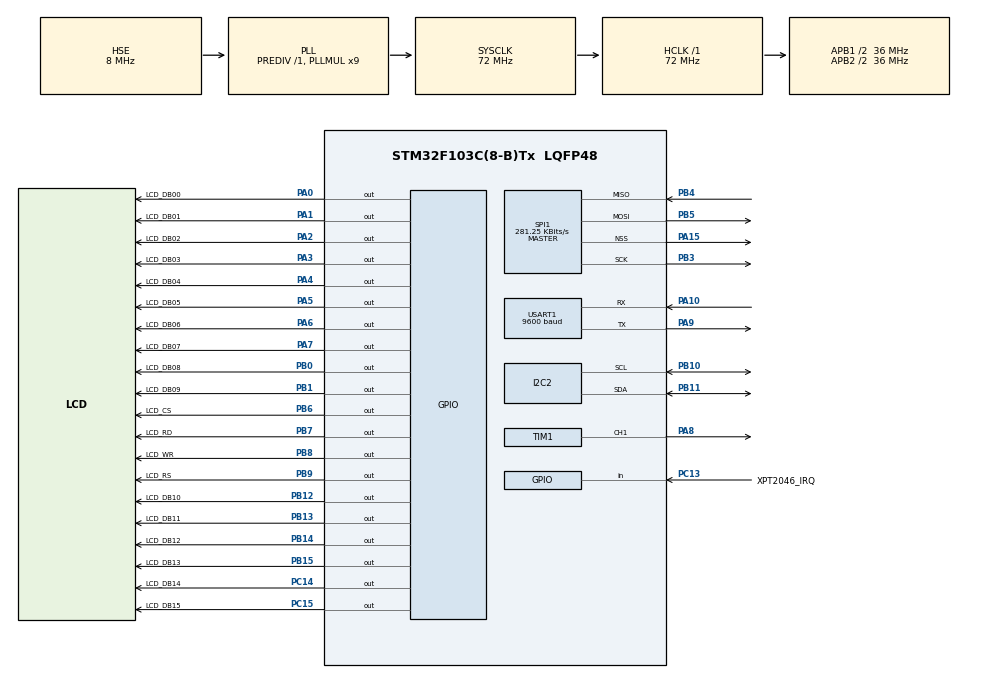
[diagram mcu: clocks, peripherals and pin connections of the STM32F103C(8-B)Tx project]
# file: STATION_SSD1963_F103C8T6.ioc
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Dma.Request0=USART1_TX
Dma.Request1=USART1_RX
Dma.USART1_RX.1.Direction=DMA_PERIPH_TO_MEMORY
Dma.USART1_RX.1.Instance=DMA1_Channel5
Dma.USART1_RX.1.MemDataAlignment=DMA_MDATAALIGN_BYTE
Dma.USART1_RX.1.MemInc=DMA_MINC_ENABLE
Dma.USART1_RX.1.Mode=DMA_NORMAL
Dma.USART1_RX.1.PeriphDataAlignment=DMA_PDATAALIGN_BYTE
Dma.USART1_RX.1.PeriphInc=DMA_PINC_DISABLE
Dma.USART1_RX.1.Priority=DMA_PRIORITY_LOW
Dma.USART1_TX.0.Direction=DMA_MEMORY_TO_PERIPH
Dma.USART1_TX.0.Instance=DMA1_Channel4
Dma.USART1_TX.0.MemDataAlignment=DMA_MDATAALIGN_BYTE
Dma.USART1_TX.0.MemInc=DMA_MINC_ENABLE
Dma.USART1_TX.0.Mode=DMA_NORMAL
Dma.USART1_TX.0.PeriphDataAlignment=DMA_PDATAALIGN_BYTE
Dma.USART1_TX.0.PeriphInc=DMA_PINC_DISABLE
Dma.USART1_TX.0.Priority=DMA_PRIORITY_LOW
Mcu.Family=STM32F1
Mcu.Name=STM32F103C(8-B)Tx
Mcu.Package=LQFP48
NVIC.DMA1_Channel4_IRQn=true\:0\:0\:false\:false\:true\:false\:true
NVIC.DMA1_Channel5_IRQn=true\:0\:0\:false\:false\:true\:false\:true
NVIC.PriorityGroup=NVIC_PRIORITYGROUP_4
NVIC.USART1_IRQn=true\:0\:0\:false\:false\:true\:true\:true
PA0-WKUP.GPIO_Label=LCD_DB00
PA0-WKUP.Signal=GPIO_Output
PA1.GPIO_Label=LCD_DB01
PA1.Signal=GPIO_Output
PA10.Mode=Asynchronous
PA10.Signal=USART1_RX
PA13.Mode=Serial_Wire
PA13.Signal=SYS_JTMS-SWDIO
PA14.Mode=Serial_Wire
PA14.Signal=SYS_JTCK-SWCLK
PA15.Mode=NSS_Signal_Hard_Output
PA15.Signal=SPI1_NSS
PA2.GPIO_Label=LCD_DB02
PA2.Signal=GPIO_Output
PA3.GPIO_Label=LCD_DB03
PA3.Signal=GPIO_Output
PA4.GPIO_Label=LCD_DB04
PA4.Signal=GPIO_Output
PA5.GPIO_Label=LCD_DB05
PA5.Signal=GPIO_Output
PA6.GPIO_Label=LCD_DB06
PA6.Signal=GPIO_Output
PA7.GPIO_Label=LCD_DB07
PA7.Signal=GPIO_Output
PA8.GPIO_Speed=GPIO_SPEED_FREQ_LOW
PA8.Signal=S_TIM1_CH1
PA9.Mode=Asynchronous
PA9.Signal=USART1_TX
PB0.GPIO_Label=LCD_DB08
PB0.Signal=GPIO_Output
PB1.GPIO_Label=LCD_DB09
PB1.Signal=GPIO_Output
PB10.GPIO_Pu=GPIO_PULLUP
PB10.GPIO_Speed=GPIO_SPEED_FREQ_HIGH
PB10.Mode=I2C
PB10.Signal=I2C2_SCL
PB11.GPIO_Pu=GPIO_PULLUP
PB11.GPIO_Speed=GPIO_SPEED_FREQ_HIGH
PB11.Mode=I2C
PB11.Signal=I2C2_SDA
PB12.GPIO_Label=LCD_DB10
PB12.Signal=GPIO_Output
PB13.GPIO_Label=LCD_DB11
PB13.Signal=GPIO_Output
PB14.GPIO_Label=LCD_DB12
PB14.Signal=GPIO_Output
PB15.GPIO_Label=LCD_DB13
PB15.Signal=GPIO_Output
PB3.Mode=Full_Duplex_Master
PB3.Signal=SPI1_SCK
PB4.Mode=Full_Duplex_Master
PB4.Signal=SPI1_MISO
PB5.Mode=Full_Duplex_Master
PB5.Signal=SPI1_MOSI
PB6.GPIO_Label=LCD_CS
PB6.Signal=GPIO_Output
PB7.GPIO_Label=LCD_RD
PB7.Signal=GPIO_Output
PB8.GPIO_Label=LCD_WR
PB8.Signal=GPIO_Output
PB9.GPIO_Label=LCD_RS
PB9.Signal=GPIO_Output
PC13-TAMPER-RTC.GPIO_Label=XPT2046_IRQ
PC13-TAMPER-RTC.GPIO_PuPd=GPIO_PULLUP
PC13-TAMPER-RTC.Signal=GPIO_Input
PC14-OSC32_IN.GPIO_Label=LCD_DB14
PC14-OSC32_IN.Signal=GPIO_Output
PC15-OSC32_OUT.GPIO_Label=LCD_DB15
PC15-OSC32_OUT.Signal=GPIO_Output
PD0-OSC_IN.Mode=HSE-External-Oscillator
PD0-OSC_IN.Signal=RCC_OSC_IN
PD1-OSC_OUT.Mode=HSE-External-Oscillator
PD1-OSC_OUT.Signal=RCC_OSC_OUT
ProjectManager.HeapSize=0x200
ProjectManager.StackSize=0x400
ProjectManager.TargetToolchain=MDK-ARM V5
RCC.AHBFreq_Value=72000000
RCC.APB1CLKDivider=RCC_HCLK_DIV2
RCC.APB1Freq_Value=36000000
RCC.APB1TimFreq_Value=72000000
RCC.APB2CLKDivider=RCC_HCLK_DIV2
RCC.APB2Freq_Value=36000000
RCC.APB2TimFreq_Value=72000000
RCC.HCLKFreq_Value=72000000
RCC.PLLMUL=RCC_PLL_MUL9
RCC.PLLSourceVirtual=RCC_PLLSOURCE_HSE
RCC.SYSCLKFreq_VALUE=72000000
RCC.SYSCLKSource=RCC_SYSCLKSOURCE_PLLCLK
RCC.USBFreq_Value=48000000
RCC.USBPrescaler=RCC_USBCLKSOURCE_PLL_DIV1_5
SH.S_TIM1_CH1.0=TIM1_CH1,PWM Generation1 CH1
SPI1.BaudRatePrescaler=SPI_BAUDRATEPRESCALER_128
SPI1.CalculateBaudRate=281.25 KBits/s
SPI1.Direction=SPI_DIRECTION_2LINES
SPI1.Mode=SPI_MODE_MASTER
SPI1.VirtualNSS=VM_NSSHARD
SPI1.VirtualType=VM_MASTER
TIM1.Channel-PWM\ Generation1\ CH1=TIM_CHANNEL_1
TIM1.Period=65535
TIM1.Prescaler=0
TIM1.Pulse-PWM\ Generation1\ CH1=0
USART1.BaudRate=9600
USART1.VirtualMode=VM_ASYNC
VP_TIM1_VS_ClockSourceINT.Mode=Internal
board=custom

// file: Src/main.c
/* USER CODE BEGIN Header */
/**
  ******************************************************************************
  * @file           : main.c
  * @brief          : Main program body
  ******************************************************************************
  ** This notice applies to any and all portions of this file
  * that are not between comment pairs USER CODE BEGIN and
  * USER CODE END. Other portions of this file, whether
  * inserted by the user or by software development tools
  * are owned by their respective copyright owners.
  *
  * COPYRIGHT(c) 2019 STMicroelectronics
  *
  * Redistribution and use in source and binary forms, with or without modification,
  * are permitted provided that the following conditions are met:
  *   1. Redistributions of source code must retain the above copyright notice,
  *      this list of conditions and the following disclaimer.
  *   2. Redistributions in binary form must reproduce the above copyright notice,
  *      this list of conditions and the following disclaimer in the documentation
  *      and/or other materials provided with the distribution.
  *   3. Neither the name of STMicroelectronics nor the names of its contributors
  *      may be used to endorse or promote products derived from this software
  *      without specific prior written permission.
  *
  * THIS SOFTWARE IS PROVIDED BY THE COPYRIGHT HOLDERS AND CONTRIBUTORS "AS IS"
  * AND ANY EXPRESS OR IMPLIED WARRANTIES, INCLUDING, BUT NOT LIMITED TO, THE
  * IMPLIED WARRANTIES OF MERCHANTABILITY AND FITNESS FOR A PARTICULAR PURPOSE ARE
  * DISCLAIMED. IN NO EVENT SHALL THE COPYRIGHT HOLDER OR CONTRIBUTORS BE LIABLE
  * FOR ANY DIRECT, INDIRECT, INCIDENTAL, SPECIAL, EXEMPLARY, OR CONSEQUENTIAL
  * DAMAGES (INCLUDING, BUT NOT LIMITED TO, PROCUREMENT OF SUBSTITUTE GOODS OR
  * SERVICES; LOSS OF USE, DATA, OR PROFITS; OR BUSINESS INTERRUPTION) HOWEVER
  * CAUSED AND ON ANY THEORY OF LIABILITY, WHETHER IN CONTRACT, STRICT LIABILITY,
  * OR TORT (INCLUDING NEGLIGENCE OR OTHERWISE) ARISING IN ANY WAY OUT OF THE USE
  * OF THIS SOFTWARE, EVEN IF ADVISED OF THE POSSIBILITY OF SUCH DAMAGE.
  *
  ******************************************************************************
  */
/* USER CODE END Header */
#include "main.h"

/* USER CODE BEGIN Includes */
#include <stdio.h>
#include <math.h>
#include "ssd1963_hal.h"
#include "xpt2046.h"
#include "uart.h"

#include "string.h"
#include "bme280.h"
#include "ds3231.h"
#include "at24xx.h"

#include "fonts/DejaVuSans/018_DejaVuSans.h"
#include "fonts/DejaVuSans/036_DejaVuSans.h"
#include "fonts/DejaVuSans/072_DejaVuSans.h"

/* USER CODE END Includes */

/* USER CODE BEGIN PD */
//#define MAX_PRESSURE 1064
/* USER CODE END PD */

I2C_HandleTypeDef hi2c2;

SPI_HandleTypeDef hspi1;

TIM_HandleTypeDef htim1;

UART_HandleTypeDef huart1;
DMA_HandleTypeDef hdma_usart1_tx;
DMA_HandleTypeDef hdma_usart1_rx;

/* USER CODE BEGIN PV */
uint8_t  rtcSet = 1, clearEEPROM = 0, barographViewed = 0, sound = 1, printAlarm = 0, alarm1 = 0;
uint8_t rtcSec, rtcMin, rtcHrs, rtcDay, rtcDate, rtcMonth, rtcYear,
rtcSecA1, rtcMinA1, rtcHrsA1, rtcDayA1, rtcDateA1, rtcMinA2, rtcHrsA2, rtcDayA2, rtcDateA2;
uint16_t touchX, touchY;
uint8_t rtcSecLast = 61, rtcMinLast = 61, rtcHrsLast = 25, rtcDayLast, rtcDateLast, rtcMonthLast, rtcYearLast;
uint16_t pressure, pressureLast;
double temperatureLast, humidityLast, temperature, humidity,
temperatureRemote, temperatureRemoteLast, humidityRemote, humidityRemoteLast, rtcMoon, rtcMoonLast;
uint64_t startHistory;

uint16_t barographHourly[367] = { 25 };
uint16_t barographDaily[367];
uint16_t barographMinimum = 0, barographMaximum = 0, barographAverage = 0;
/* USER CODE END PV */

void SystemClock_Config(void);
static void MX_GPIO_Init(void);
static void MX_DMA_Init(void);
static void MX_USART1_UART_Init(void);
static void MX_SPI1_Init(void);
static void MX_I2C2_Init(void);
static void MX_TIM1_Init(void);

/* USER CODE BEGIN 0 */
double map(double x, double in_min, double in_max, double out_min, double out_max) {
	return (x - in_min) * (out_max - out_min) / (in_max - in_min) + out_min;
}

uint8_t rx_buffer[256];
uint8_t rx_index = 0;
uint8_t rx_data;

void HAL_UART_RxCpltCallback(UART_HandleTypeDef* huart) {
	uint8_t i;
	if (huart->Instance == USART1) {
		if (rx_index == 0) {
			for (i = 0; i < 255; i++) {
				rx_buffer[i] = 0;
			}
		}
		rx_buffer[rx_index++] = rx_data;
		HAL_UART_Receive_IT(&huart1, &rx_data, 1);
	}
}

void sensorRemote() {

	if (temperatureRemote != temperatureRemoteLast && temperatureRemote >= -40 && temperatureRemote <= 40) {

		char weatherPrintRemoteT[4];

		if (temperatureRemoteLast >= 10 || (temperatureRemoteLast < 0 && temperatureRemoteLast > -100)) {
			sprintf(weatherPrintRemoteT, "%.1f", temperatureRemoteLast);
			LCD_Font(505, 40, weatherPrintRemoteT, &DejaVu_Sans_36, 1, BLACK);
		}
		else if (temperatureRemoteLast < 10 && temperatureRemoteLast > 0) {
			sprintf(weatherPrintRemoteT, "%.1f", temperatureRemoteLast);
			LCD_Font(531, 40, weatherPrintRemoteT, &DejaVu_Sans_36, 1, BLACK);
		}
		else if (temperatureRemoteLast <= -100) {
			sprintf(weatherPrintRemoteT, "%2d", (int8_t)temperatureRemoteLast);
			LCD_Font(505, 40, weatherPrintRemoteT, &DejaVu_Sans_36, 1, BLACK);
		}

		temperatureRemoteLast = temperatureRemote;

		if (temperatureRemoteLast >= 10 || (temperatureRemoteLast < 0 && temperatureRemoteLast > -100)) {
			sprintf(weatherPrintRemoteT, "%.1f", temperatureRemoteLast);
			LCD_Font(505, 40, weatherPrintRemoteT, &DejaVu_Sans_36, 1, ORANGE);
		}
		else if (temperatureRemoteLast < 10 && temperatureRemoteLast > 0) {
			sprintf(weatherPrintRemoteT, "%.1f", temperatureRemoteLast);
			LCD_Font(531, 40, weatherPrintRemoteT, &DejaVu_Sans_36, 1, ORANGE);
		}

		for (double i = 0.0; i < 400; i++) {
			if (temperatureRemoteLast + 40 > i / 5) LCD_Line(547, 470 - i, 563, 470 - i, 1, GRAY);
			else LCD_Line(547, 470 - i, 563, 470 - i, 1, 0x101010);
		}
	}

	if (humidityRemote != humidityRemoteLast && humidityRemote > 0) {

		char weatherPrintRemoteH[4];

		if (humidityRemoteLast >= 10) {
			sprintf(weatherPrintRemoteH, "%.1f", humidityRemoteLast);
			LCD_Font(405, 40, weatherPrintRemoteH, &DejaVu_Sans_36, 1, BLACK);
		}
		else if (humidityRemoteLast < 10) {
			sprintf(weatherPrintRemoteH, "%.1f", humidityRemoteLast);
			LCD_Font(431, 40, weatherPrintRemoteH, &DejaVu_Sans_36, 1, BLACK);
		}

		humidityRemoteLast = humidityRemote;

		if (humidityRemoteLast >= 10) {
			sprintf(weatherPrintRemoteH, "%.1f", humidityRemoteLast);
			LCD_Font(405, 40, weatherPrintRemoteH, &DejaVu_Sans_36, 1, CYAN);
		}
		else if (humidityRemoteLast < 10) {
			sprintf(weatherPrintRemoteH, "%.1f", humidityRemoteLast);
			LCD_Font(431, 40, weatherPrintRemoteH, &DejaVu_Sans_36, 1, CYAN);
		}

		for (double i = 0.0; i < 400; i++) {
			if (humidityRemote > i / 4) LCD_Line(447, 470 - i, 463, 470 - i, 1, GRAY);
			else LCD_Line(447, 470 - i, 463, 470 - i, 1, 0x101010);
		}
	}
}

uint8_t byteL(uint16_t val) {
	return (val & 0xFF);
}

uint8_t byteH(uint16_t val) {
	return ((val >> 8) & 0xFF);
}

uint16_t byteS(uint8_t byteL, uint8_t byteH) {
	return (byteH << 8) | byteL;
}

void barograph(void) {

	pressure = (uint16_t)BME280_getPressure();
	if (pressure > 300 && pressure < 1100) {

		for (uint16_t i = 0; i < 367; i++) {
			barographHourly[i] = byteS(AT24XX_Read(i * 2 + 1000), AT24XX_Read(i * 2 + 1 + 1000));
			barographDaily[i] = byteS(AT24XX_Read(i * 2 + 2000), AT24XX_Read(i * 2 + 1 + 2000));
		}

		if (barographHourly[0] != rtcHrs && pressure > 300 && pressure < 1100) {

			barographHourly[0] = rtcHrs;

			for (uint16_t i = 1; i < 366; i++) barographHourly[i] = barographHourly[i + 1];
			barographHourly[366] = (uint16_t)pressure;

			for (uint16_t i = 0; i < 367; i++) {
				AT24XX_Update(i * 2 + 1000, byteL(barographHourly[i]));
				AT24XX_Update(i * 2 + 1 + 1000, byteH(barographHourly[i]));
			}

			if (barographDaily[0] != rtcDate) {
				barographDaily[0] = rtcDate;

				uint32_t barographAverageLast24Hours = 0;
				uint16_t historyHours = 0;
				for (uint8_t i = 0; i < 24; i++) {
					if (barographHourly[366 - i] != 0) {
						barographAverageLast24Hours = barographAverageLast24Hours + barographHourly[366 - i];
						historyHours++;
					}
				}
				if (historyHours != 0) barographAverageLast24Hours = barographAverageLast24Hours / historyHours;

				for (uint16_t i = 1; i < 366; i++) {
					barographDaily[i] = barographDaily[i + 1];
				}
				barographDaily[366] = barographAverageLast24Hours;

				for (uint16_t i = 0; i < 367; i++) {
					AT24XX_Update(i * 2 + 2000, byteL(barographDaily[i]));
					AT24XX_Update(i * 2 + 1 + 2000, byteH(barographDaily[i]));
				}
			}
			barographViewed = 0;
		}

		if (!barographViewed) {

			uint32_t barographAverageLast366Days = 0;
			uint16_t historyDays = 0;
			for (uint16_t i = 0; i < 365; i++) {
				if (barographDaily[366 - i] != 0) {
					barographAverageLast366Days = barographAverageLast366Days + barographDaily[366 - i];
					historyDays++;
				}
			}
			if (historyDays != 0) barographAverage = barographAverageLast366Days / historyDays;

			barographMinimum = barographDaily[366];
			barographMaximum = barographDaily[366];

			for (uint16_t i = 1; i < 366; i++) {
				if (barographDaily[366 - i] != 0) {
					if (barographDaily[366 - i] < barographMinimum) barographMinimum = barographDaily[366 - i];
					if (barographDaily[366 - i] > barographMaximum) barographMaximum = barographDaily[366 - i];
				}
			}

			for (uint16_t i = 1; i < 366; i++) {
				if (barographHourly[366 - i] != 0) {
					if (barographHourly[366 - i] < barographMinimum) barographMinimum = barographHourly[366 - i];
					if (barographHourly[366 - i] > barographMaximum) barographMaximum = barographHourly[366 - i];
				}
			}

			barographDaily[0] = rtcDate;

			LCD_Rect(1, 201, 368, 128, 1, BLUE);

			for (uint16_t i = 0; i < 366; i++) {
				int16_t val = 0;
				val = barographHourly[i + 1];
				if (val < barographMaximum - 127) val = barographMaximum - 127;
				LCD_Line(2 + i, 328, 2 + i, 202, 1, BLACK);
				LCD_Line(2 + i, 328, 2 + i, 202 + (barographMaximum - val), 1, RGB(255 - ((barographMaximum - val) * 2), 0, 255 - (255 - ((barographMaximum - val) * 2))));
			}

			LCD_Rect(1, 329, 368, 128, 1, BLUE);

			for (uint16_t i = 0; i < 366; i++) {
				int16_t val = 0;
				val = barographDaily[i + 1];
				if (val < barographMaximum - 127) val = barographMaximum - 127;

				LCD_Line(2 + i, 456, 2 + i, 330, 1, BLACK);
				LCD_Line(2 + i, 456, 2 + i, 330 + (barographMaximum - val), 1, RGB(255 - ((barographMaximum - val) * 2), 0, 255 - (255 - ((barographMaximum - val) * 2))));
			}

			LCD_Rect_Fill(1, 460, 397, 18, BLACK);

			char s[10];

			if (barographAverage >= 1000) sprintf(s, "Mid:%02d|", barographAverage);
			else sprintf(s, "Mid:0%02d|", barographAverage);
			LCD_Font(1, 474, s, &DejaVu_Sans_18, 1, GRAY);

			if (barographMinimum >= 1000) sprintf(s, "|Min:%02d|", barographMinimum);
			else sprintf(s, "|Min:0%02d|", barographMinimum);
			LCD_Font(91, 474, s, &DejaVu_Sans_18, 1, GRAY);

			if (barographMaximum >= 1000) sprintf(s, "|Max:%02d|", barographMaximum);
			else sprintf(s, "|Max:0%02d|", barographMaximum);
			LCD_Font(188, 474, s, &DejaVu_Sans_18, 1, GRAY);

			if (pressure >= 1000) sprintf(s, "|Now:%02d", pressure);
			else sprintf(s, "|Now:0%02d", pressure);
			LCD_Font(290, 474, s, &DejaVu_Sans_18, 1, GRAY);

			if (barographHourly[365] != barographHourly[366])
			{
				LCD_Triangle_Fill(370, 302, 398, 302, 384, 316, BLACK);
				LCD_Triangle_Fill(370, 262, 398, 262, 384, 272, BLACK);
				LCD_Triangle_Fill(370, 222, 398, 222, 384, 236, BLACK);
				LCD_Triangle_Fill(370, 316, 398, 316, 384, 302, BLACK);
				LCD_Triangle_Fill(370, 276, 398, 276, 384, 262, BLACK);
				LCD_Triangle_Fill(370, 236, 398, 236, 384, 222, BLACK);
				if (barographHourly[365] > barographHourly[366])     LCD_Triangle_Fill(370, 302, 398, 302, 384, 316, BLUE);
				if (barographHourly[365] > barographHourly[366] + 1) LCD_Triangle_Fill(370, 262, 398, 262, 384, 272, BLUE);
				if (barographHourly[365] > barographHourly[366] + 2) LCD_Triangle_Fill(370, 222, 398, 222, 384, 236, BLUE);
				if (barographHourly[365] < barographHourly[366])     LCD_Triangle_Fill(370, 316, 398, 316, 384, 302, RED);
				if (barographHourly[365] < barographHourly[366] - 1) LCD_Triangle_Fill(370, 276, 398, 276, 384, 262, RED);
				if (barographHourly[365] < barographHourly[366] - 2) LCD_Triangle_Fill(370, 236, 398, 236, 384, 222, RED);
			}

			if (barographDaily[365] != barographDaily[366])
			{
				LCD_Triangle_Fill(370, 430, 398, 430, 384, 444, BLACK);
				LCD_Triangle_Fill(370, 390, 398, 390, 384, 404, BLACK);
				LCD_Triangle_Fill(370, 350, 398, 350, 384, 364, BLACK);
				LCD_Triangle_Fill(370, 444, 398, 444, 384, 430, BLACK);
				LCD_Triangle_Fill(370, 404, 398, 404, 384, 390, BLACK);
				LCD_Triangle_Fill(370, 364, 398, 364, 384, 350, BLACK);
				if (barographDaily[365] > barographDaily[366] + 5)      LCD_Triangle_Fill(370, 430, 398, 430, 384, 444, BLUE);
				if (barographDaily[365] > barographDaily[366] + 10) 	LCD_Triangle_Fill(370, 390, 398, 390, 384, 404, BLUE);
				if (barographDaily[365] > barographDaily[366] + 15) 	LCD_Triangle_Fill(370, 350, 398, 350, 384, 364, BLUE);
				if (barographDaily[365] < barographDaily[366] - 5)     	LCD_Triangle_Fill(370, 444, 398, 444, 384, 430, RED);
				if (barographDaily[365] < barographDaily[366] - 10) 	LCD_Triangle_Fill(370, 404, 398, 404, 384, 390, RED);
				if (barographDaily[365] < barographDaily[366] - 15) 	LCD_Triangle_Fill(370, 364, 398, 364, 384, 350, RED);
			}
			barographViewed = 1;
		}
	}
}

void uartDecode() {

	if (memcmp(rx_buffer, "CE", 2) == 0) {
		for (uint16_t i = 0; i < 4096; i++) AT24XX_Update(i, 0);

		uint8_t uartTransmit[] = "EEPROM IS CLEANED\r\n";
		HAL_UART_Transmit(&huart1, uartTransmit, sizeof(uartTransmit), 100);

		barograph();
	}

	if (memcmp(rx_buffer, "RS", 2) == 0) {

		char valT[4] = { 0 };

		for (uint8_t i = 0; i < 4; i++) valT[i] = rx_buffer[2 + i];

		temperatureRemote = atoi(valT);
		temperatureRemote = temperatureRemote / 10;

		char valH[3] = { 0 };

		for (uint8_t i = 0; i < 3; i++) valH[i] = rx_buffer[6 + i];

		humidityRemote = atoi(valH);
		humidityRemote = humidityRemote / 10;

		sensorRemote();
	}

	if (memcmp(rx_buffer, "RT", 2) == 0) {

		char val[2];

		val[0] = rx_buffer[2];
		val[1] = rx_buffer[3];
		DS3231_setHrs(atoi(val));

		val[0] = rx_buffer[4];
		val[1] = rx_buffer[5];
		DS3231_setMin(atoi(val));

		val[0] = rx_buffer[6];
		val[1] = rx_buffer[7];
		DS3231_setSec(atoi(val));

		val[0] = rx_buffer[8];
		val[1] = rx_buffer[9];
		DS3231_setDate(atoi(val));

		val[0] = rx_buffer[10];
		val[1] = rx_buffer[11];
		DS3231_setMonth(atoi(val));

		val[0] = rx_buffer[12];
		val[1] = rx_buffer[13];
		DS3231_setYear(atoi(val));

		val[1] = rx_buffer[14];
		DS3231_setDay(atoi(val));
	}

	for (uint8_t i = 0; i < 255; i++) rx_buffer[i] = 0;
}

void signal(void)
{
	for (uint32_t i = 0; i <= 65536; i++)
	{
		TIM1->CCR1 = i;
	}
}

void alarm(void)
{
	alarm1 = AT24XX_Read(4000);
	if (rtcHrsA1 < 24 && rtcMinA1 < 60)
	{
		if (!printAlarm)
		{
			LCD_Rect_Fill(71, 170, 105, 28, BLACK);
			char alarm1Time[8];
			sprintf(alarm1Time, "%02d:%02d", rtcHrsA1, rtcMinA1);
			if (alarm1) LCD_Font(70, 197, alarm1Time, &DejaVu_Sans_36, 1, RED);
			else LCD_Font(70, 197, alarm1Time, &DejaVu_Sans_36, 1, GRAY);

			LCD_Rect_Round(2, 170, 30, 30, 2, 1, GRAY);
			LCD_Font(8, 179, "_", &DejaVu_Sans_36, 1, GRAY);
			LCD_Rect_Round(34, 170, 30, 30, 2, 1, GRAY);
			LCD_Font(34, 197, "+", &DejaVu_Sans_36, 1, GRAY);

			LCD_Rect_Round(182, 170, 30, 30, 2, 1, GRAY);
			LCD_Font(188, 179, "_", &DejaVu_Sans_36, 1, GRAY);
			LCD_Rect_Round(214, 170, 30, 30, 2, 1, GRAY);
			LCD_Font(214, 197, "+", &DejaVu_Sans_36, 1, GRAY);

			LCD_Rect_Round(260, 170, 130, 30, 2, 1, GRAY);
			LCD_Rect_Round(300, 175, 50, 20, 2, 1, GRAY);
			LCD_Font(262, 192, "OFF", &DejaVu_Sans_18, 1, GRAY);
			LCD_Font(356, 192, "ON", &DejaVu_Sans_18, 1, GRAY);

			if (alarm1)
			{
				LCD_Rect_Round_Fill(329, 176, 20, 18, 1, RED);
				LCD_Rect_Round_Fill(301, 176, 20, 18, 1, BLACK);
			}
			else
			{
				LCD_Rect_Round_Fill(301, 176, 20, 18, 1, GRAY);
				LCD_Rect_Round_Fill(329, 176, 20, 18, 1, BLACK);
			}

			printAlarm = 1;
		}
		if (alarm1 && rtcHrsA1 == rtcHrs && rtcMinA1 == rtcMin) signal();
	}
}

/* USER CODE END 0 */

int main(void)
{

  /* MCU Configuration--------------------------------------------------------*/

  /* Reset of all peripherals, Initializes the Flash interface and the Systick. */
  HAL_Init();

  /* Configure the system clock */
  SystemClock_Config();

  /* Initialize all configured peripherals */
  MX_GPIO_Init();
  MX_DMA_Init();
  MX_USART1_UART_Init();
  MX_SPI1_Init();
  MX_I2C2_Init();
  MX_TIM1_Init();
  /* USER CODE BEGIN 2 */

	LCD_Init();
	XPT2046_Init();
	BME280_Init();

	HAL_TIM_PWM_Start(&htim1, TIM_CHANNEL_1);

	temperature = BME280_getTemperature(-1);
	humidity = BME280_getHumidity(-1);
	pressure = (uint16_t)BME280_getPressure();

	if (!rtcSet) {
		DS3231_setSec(0);
		DS3231_setMin(0);
		DS3231_setHrs(20);
		DS3231_setDay(7);
		DS3231_setDate(25);
		DS3231_setMonth(4);
		DS3231_setYear(21);
		rtcSet = 1;
	}

	if (clearEEPROM) {
		for (uint16_t i = 0; i < 4096; i++) {
			AT24XX_Update(i, 0);
		}
	}

	LCD_Rect_Fill(0, 0, 800, 480, BLACK);
	LCD_Rect(0, 0, 798, 479, 1, BLUE);

	HAL_UART_Receive_IT(&huart1, &rx_data, 1);

	uint8_t uartTransmit[] = "UART OK\r\n";
	HAL_UART_Transmit(&huart1, uartTransmit, sizeof(uartTransmit), 100);

	uint8_t uartTransmitDMA[] = "UART DMA OK\r\n";
	HAL_UART_Transmit_DMA(&huart1, uartTransmitDMA, sizeof(uartTransmitDMA));

	LCD_Line(400, 2, 400, 478, 1, BLUE);
	LCD_Rect(445, 70, 20, 402, 1, CYAN);
	LCD_Rect(745, 70, 20, 402, 1, CYAN);

	for (uint32_t i = 0; i < 41; i++) {
		char numbers[3];
		sprintf(numbers, "%02d", 40 - i);
		if (i % 5 == 0) LCD_Font(710, 77 + i * 10, numbers, &DejaVu_Sans_18, 1, GREEN);
		if (i % 5 == 0 && i > 30) LCD_Font(710, 77 + i * 10, "0", &DejaVu_Sans_18, 1, BLACK);

		if (i % 5 == 0) LCD_Line(735, 71 + i * 10, 745, 71 + i * 10, 1, CYAN);
		else LCD_Line(740, 71 + i * 10, 745, 71 + i * 10, 1, CYAN);
	}

	LCD_Rect(645, 70, 20, 402, 1, CYAN);

		for (uint8_t i = 0; i < 41; i++) {
		uint16_t n = (200 - i * 5) >> 1;
		if ((uint8_t)n % 10 == 0) {
			char numbers[3];
			sprintf(numbers, "%02d", (uint8_t)n);
			if (n < 100) LCD_Font(610, 77 + i * 10, numbers, &DejaVu_Sans_18, 1, GREEN);
			else LCD_Font(601, 77 + i * 10, numbers, &DejaVu_Sans_18, 1, GREEN);

			LCD_Line(635, 71 + i * 10, 645, 71 + i * 10, 1, CYAN);

		}
		else if ((uint8_t)n % 5 == 0 && i < 40)
			LCD_Line(640, 71 + i * 10, 645, 71 + i * 10, 1, CYAN);
	}

	LCD_Font(610, 477, "0", &DejaVu_Sans_18, 1, BLACK);

	for (uint8_t i = 0; i < 41; i++) {
		uint16_t n = (200 - i * 5) >> 1;
		if ((uint8_t)n % 10 == 0) {
			char numbers[3];
			sprintf(numbers, "%02d", (uint8_t)n);
			if (n < 100) LCD_Font(410, 77 + i * 10, numbers, &DejaVu_Sans_18, 1, GREEN);
			else LCD_Font(401, 77 + i * 10, numbers, &DejaVu_Sans_18, 1, GREEN);
			LCD_Line(435, 71 + i * 10, 445, 71 + i * 10, 1, CYAN);
		}
		else if ((uint8_t)n % 5 == 0 && i < 40)
			LCD_Line(440, 71 + i * 10, 445, 71 + i * 10, 1, CYAN);
	}

	LCD_Font(410, 477, "0", &DejaVu_Sans_18, 1, BLACK);

	LCD_Rect(545, 70, 20, 402, 1, CYAN);

	for (int32_t i = 0; i < 81; i++) {
		char numbers[3];
		sprintf(numbers, "%02d", 40 - i);
		if (i % 10 == 0) {
			if (40 - i >= 0) LCD_Font(510, 77 + i * 5, numbers, &DejaVu_Sans_18, 1, GREEN);
			else if (40 - i < 0) LCD_Font(501, 77 + i * 5, numbers, &DejaVu_Sans_18, 1, GREEN);
			LCD_Line(535, 71 + i * 5, 545, 71 + i * 5, 1, CYAN);
		}
		else if (i % 5 == 0) LCD_Line(540, 71 + i * 5, 545, 71 + i * 5, 1, CYAN);
		LCD_Font(510, 277, "0", &DejaVu_Sans_18, 1, BLACK);
	}

	LCD_Line(500, 2, 500, 478, 1, BLUE);
	LCD_Line(600, 2, 600, 478, 1, BLUE);
	LCD_Line(700, 2, 700, 478, 1, BLUE);

  /* USER CODE END 2 */

  /* Infinite loop */
  /* USER CODE BEGIN WHILE */
	while (1) {

		if (sound)
		{
			signal();
			sound = 0;
		}

		if (rx_index != 0) {
			HAL_Delay(200);
			rx_index = 0;
			uartDecode();
		}

		if ((HAL_GPIO_ReadPin(GPIOC, GPIO_PIN_13) == GPIO_PIN_SET)) {
			uint16_t touchXr = getX();
			uint16_t touchYr = getY();

			if (touchXr && touchYr && touchXr != 0x2F5 && touchYr != 0x0DB) {
				touchX = touchXr;
				touchY = touchYr;

				LCD_Rect_Fill(touchX, touchY, 2, 2, WHITE);

				if (touchX > 0 && touchX < 32 && touchY > 170 && touchY < 200)
				{
					LCD_Rect_Round(2, 170, 30, 30, 2, 1, RED);
					LCD_Font(8, 179, "_", &DejaVu_Sans_36, 1, RED);
					if (rtcHrsA1 > 0) rtcHrsA1 = rtcHrsA1 - 1; else rtcHrsA1 = 23;
					DS3231_setAlarm1Hour(rtcHrsA1);
					printAlarm = 0;
					sound = 1;
				}
				else if (touchX > 32 && touchX < 64 && touchY > 170 && touchY < 200)
				{
					LCD_Rect_Round(34, 170, 30, 30, 2, 1, RED);
					LCD_Font(34, 197, "+", &DejaVu_Sans_36, 1, RED);
					if (rtcHrsA1 < 23) rtcHrsA1 = rtcHrsA1 + 1; else rtcHrsA1 = 0;
					DS3231_setAlarm1Hour(rtcHrsA1);
					printAlarm = 0;
					sound = 1;
				}
				else if (touchX > 182 && touchX < 212 && touchY > 170 && touchY < 200)
				{
					if (rtcMinA1 > 0) rtcMinA1 = rtcMinA1 - 5; else rtcMinA1 = 55;
					DS3231_setAlarm1Min(rtcMinA1);
					LCD_Rect_Round(182, 170, 30, 30, 2, 1, RED);
					LCD_Font(188, 179, "_", &DejaVu_Sans_36, 1, RED);
					printAlarm = 0;
					sound = 1;
				}
				else if (touchX > 214 && touchX < 244 && touchY > 170 && touchY < 200)
				{
					if (rtcMinA1 < 55) rtcMinA1 = rtcMinA1 + 5; else rtcMinA1 = 0;
					DS3231_setAlarm1Min(rtcMinA1);
					LCD_Rect_Round(214, 170, 30, 30, 2, 1, RED);
					LCD_Font(214, 197, "+", &DejaVu_Sans_36, 1, RED);
					printAlarm = 0;
					sound = 1;
				}
				else if (touchX > 260 && touchX < 390 && touchY > 170 && touchY < 200)
				{
					if (AT24XX_Read(4000)) AT24XX_Update(4000, 0);
					else AT24XX_Update(4000, 1);
					printAlarm = 0;
					sound = 1;
				}

			}
		}

		DS3231_Update();
		rtcSec = DS3231_getSec();
		rtcMin = DS3231_getMin();
		rtcHrs = DS3231_getHrs();
		rtcDay = DS3231_getDay();
		rtcDate = DS3231_getDate();
		rtcMonth = DS3231_getMonth();
		rtcYear = DS3231_getYear();
		//		rtcSecA1 = DS3231_getAlarm1Sec();
		rtcMinA1 = DS3231_getAlarm1Min();
		rtcHrsA1 = DS3231_getAlarm1Hour();
		//		rtcDayA1 = DS3231_getAlarm1Day();
		//		rtcDateA1 = DS3231_getAlarm1Date();
		//		rtcMinA2 = DS3231_getAlarm2Min();
		//		rtcHrsA2 = DS3231_getAlarm2Hour();
		//		rtcDayA2 = DS3231_getAlarm2Day();
		//		rtcDateA2 = DS3231_getAlarm2Date();

		char clockPrint[13];

		if (rtcSecLast != rtcSec) {

			static const uint32_t hues[24] = {
				HUE_01, HUE_02, HUE_03, HUE_04, HUE_05, HUE_06, HUE_07, HUE_08, HUE_09, HUE_10, HUE_11, HUE_12,
			HUE_13, HUE_14, HUE_15, HUE_16, HUE_17, HUE_18, HUE_19, HUE_20, HUE_21, HUE_22, HUE_23, HUE_24 };

			LCD_Circle(203, 30, 8, 0, 1, hues[rtcHrs]);
			LCD_Circle(203, 80, 8, 0, 1, hues[rtcHrs]);

			if (rtcSec % 2 != 0) {
				LCD_Circle(203, 30, 7, 1, 1, hues[rtcHrs]);
				LCD_Circle(203, 80, 7, 1, 1, hues[rtcHrs]);
			}
			else {
				LCD_Circle(203, 30, 7, 1, 1, BLACK);
				LCD_Circle(203, 80, 7, 1, 1, BLACK);
			}

			if (rtcMinLast != rtcMin) {

				sprintf(clockPrint, "%02d", rtcMinLast);
				LCD_Font(220, 110, clockPrint, &DejaVu_Sans_72, 2, BLACK);
				sprintf(clockPrint, "%02d", rtcMin);
				LCD_Font(220, 110, clockPrint, &DejaVu_Sans_72, 2, hues[rtcHrs]);

				if (rtcHrsLast != rtcHrs) {
					sprintf(clockPrint, "%02d", rtcHrsLast);
					LCD_Font(0, 110, clockPrint, &DejaVu_Sans_72, 2, BLACK);
					sprintf(clockPrint, "%02d", rtcHrs);
					LCD_Font(0, 110, clockPrint, &DejaVu_Sans_72, 2, hues[rtcHrs]);

					if (rtcDayLast != rtcDay) {

						static const char* days[7] = { "MONDAY", "TUESDAY", "WEDNESDAY",
							"THURSTDAY", "FRIDAY", "SATURDAY", "SUNDAY" };

						LCD_Font(2, 140, days[(7 + rtcDay - 2) % 7], &DejaVu_Sans_36, 1, BLACK);
						LCD_Font(2, 140, days[(7 + rtcDay - 1) % 7], &DejaVu_Sans_36, 1, GRAY);

						static const char* months[12] = { "JANUARY", "FEBRUARY", "MARCH", "APRIL", "MAY",
						"JUNE", "JULE", "AUGUST", "SEPTEMBER", "OCTOBER", "NOVEMBER", "DECEMBER" };

						LCD_Font(3, 168, months[(12 + rtcMonth - 2) % 12], &DejaVu_Sans_36, 1, BLACK);
						LCD_Font(3, 168, months[(12 + rtcMonth - 1) % 12], &DejaVu_Sans_36, 1, GRAY);

						sprintf(clockPrint, "%02d-%02d-%02d", rtcDateLast, rtcMonthLast, rtcYearLast);
						LCD_Font(230, 168, clockPrint, &DejaVu_Sans_36, 1, BLACK);

						sprintf(clockPrint, "%02d-%02d-%02d", rtcDate, rtcMonth, rtcYear);
						LCD_Font(230, 168, clockPrint, &DejaVu_Sans_36, 1, GRAY);

						if (rtcMoonLast < 10) sprintf(clockPrint, "M:  %01d", (uint16_t)rtcMoonLast);
						else sprintf(clockPrint, "M: %02d", (uint16_t)rtcMoonLast);
						LCD_Font(297, 140, clockPrint, &DejaVu_Sans_36, 1, BLACK);
						rtcMoon = DS3231_getMoonDay();
						if (rtcMoon < 10) sprintf(clockPrint, "M:  %01d", (uint16_t)rtcMoon);
						else sprintf(clockPrint, "M: %02d", (uint16_t)rtcMoon);
						LCD_Font(297, 140, clockPrint, &DejaVu_Sans_36, 1, GRAY);
						rtcMoonLast = rtcMoon;

						rtcDayLast = rtcDay;
					}
					rtcDateLast = rtcDate;
					rtcMonthLast = rtcMonth;
					rtcYearLast = rtcYear;

					barograph();

					rtcHrsLast = rtcHrs;
					sound = 1;
				}

				temperature = BME280_getTemperature(-1);
				humidity = BME280_getHumidity(-1);
				//				pressure = (uint16_t)BME280_getPressure();

				if (temperature != temperatureLast && temperature >= -40 && temperature <= 40) {

					char weatherPrintT[4];

					if (temperatureLast >= 10 || (temperatureLast < 0 && temperatureLast > -10)) {
						sprintf(weatherPrintT, "%.1f", temperatureLast);
						LCD_Font(705, 40, weatherPrintT, &DejaVu_Sans_36, 1, BLACK);
					}
					else if (temperatureLast < 10 && temperatureLast > 0) {
						sprintf(weatherPrintT, "%.1f", temperatureLast);
						LCD_Font(731, 40, weatherPrintT, &DejaVu_Sans_36, 1, BLACK);
					}
					else if (temperatureLast <= -10) {
						sprintf(weatherPrintT, "%2d", (int8_t)temperatureLast);
						LCD_Font(705, 40, weatherPrintT, &DejaVu_Sans_36, 1, BLACK);
					}

					if (temperature >= 10 || (temperature < 0 && temperature > -10)) {
						sprintf(weatherPrintT, "%.1f", temperature);
						LCD_Font(705, 40, weatherPrintT, &DejaVu_Sans_36, 1, ORANGE);
					}
					else if (temperature < 10 && temperature > 0) {
						sprintf(weatherPrintT, "%.1f", temperature);
						LCD_Font(731, 40, weatherPrintT, &DejaVu_Sans_36, 1, ORANGE);
					}
					else if (temperature <= -10) {
						sprintf(weatherPrintT, "%2d", (int8_t)temperature);
						LCD_Font(705, 40, weatherPrintT, &DejaVu_Sans_36, 1, ORANGE);
					}

					for (double i = 0.0; i < 400; i++) {
						if (temperature > i / 10) LCD_Line(747, 470 - i, 763, 470 - i, 1, GRAY);
						else LCD_Line(747, 470 - i, 763, 470 - i, 1, 0x101010);
					}

					temperatureLast = temperature;
				}

				char weatherPrintH[4];

				if (humidity != humidityLast && humidity >= 0 && humidity < 100) {

					sprintf(weatherPrintH, "%.1f", humidityLast);
					if (humidityLast >= 10)
						LCD_Font(605, 40, weatherPrintH, &DejaVu_Sans_36, 1, BLACK);
					else LCD_Font(631, 40, weatherPrintH, &DejaVu_Sans_36, 1, BLACK);

					sprintf(weatherPrintH, "%.1f", humidity);
					if (humidity >= 10)
						LCD_Font(605, 40, weatherPrintH, &DejaVu_Sans_36, 1, CYAN);
					else LCD_Font(631, 40, weatherPrintH, &DejaVu_Sans_36, 1, CYAN);

					for (double i = 0.0; i < 400; i++) {
						if (humidity > i / 4) LCD_Line(647, 470 - i, 663, 470 - i, 1, GRAY);
						else LCD_Line(647, 470 - i, 663, 470 - i, 1, 0x101010);
					}

					humidityLast = humidity;
				}
				rtcMinLast = rtcMin;
			}
			alarm();
			rtcSecLast = rtcSec;
		}
	}
    /* USER CODE END WHILE */

}

void SystemClock_Config(void)
{
  RCC_OscInitTypeDef RCC_OscInitStruct = {0};
  RCC_ClkInitTypeDef RCC_ClkInitStruct = {0};

  /** Initializes the RCC Oscillators according to the specified parameters
  * in the RCC_OscInitTypeDef structure.
  */
  RCC_OscInitStruct.OscillatorType = RCC_OSCILLATORTYPE_HSE;
  RCC_OscInitStruct.HSEState = RCC_HSE_ON;
  RCC_OscInitStruct.HSEPredivValue = RCC_HSE_PREDIV_DIV1;
  RCC_OscInitStruct.HSIState = RCC_HSI_ON;
  RCC_OscInitStruct.PLL.PLLState = RCC_PLL_ON;
  RCC_OscInitStruct.PLL.PLLSource = RCC_PLLSOURCE_HSE;
  RCC_OscInitStruct.PLL.PLLMUL = RCC_PLL_MUL9;
  if (HAL_RCC_OscConfig(&RCC_OscInitStruct) != HAL_OK)
  {
    Error_Handler();
  }
  /** Initializes the CPU, AHB and APB buses clocks
  */
  RCC_ClkInitStruct.ClockType = RCC_CLOCKTYPE_HCLK|RCC_CLOCKTYPE_SYSCLK
                              |RCC_CLOCKTYPE_PCLK1|RCC_CLOCKTYPE_PCLK2;
  RCC_ClkInitStruct.SYSCLKSource = RCC_SYSCLKSOURCE_PLLCLK;
  RCC_ClkInitStruct.AHBCLKDivider = RCC_SYSCLK_DIV1;
  RCC_ClkInitStruct.APB1CLKDivider = RCC_HCLK_DIV2;
  RCC_ClkInitStruct.APB2CLKDivider = RCC_HCLK_DIV2;

  if (HAL_RCC_ClockConfig(&RCC_ClkInitStruct, FLASH_LATENCY_2) != HAL_OK)
  {
    Error_Handler();
  }
}

static void MX_I2C2_Init(void)
{

  hi2c2.Instance = I2C2;
  hi2c2.Init.ClockSpeed = 100000;
  hi2c2.Init.DutyCycle = I2C_DUTYCYCLE_2;
  hi2c2.Init.OwnAddress1 = 0;
  hi2c2.Init.AddressingMode = I2C_ADDRESSINGMODE_7BIT;
  hi2c2.Init.DualAddressMode = I2C_DUALADDRESS_DISABLE;
  hi2c2.Init.OwnAddress2 = 0;
  hi2c2.Init.GeneralCallMode = I2C_GENERALCALL_DISABLE;
  hi2c2.Init.NoStretchMode = I2C_NOSTRETCH_DISABLE;
  if (HAL_I2C_Init(&hi2c2) != HAL_OK)
  {
    Error_Handler();
  }

}

static void MX_SPI1_Init(void)
{

  /* SPI1 parameter configuration*/
  hspi1.Instance = SPI1;
  hspi1.Init.Mode = SPI_MODE_MASTER;
  hspi1.Init.Direction = SPI_DIRECTION_2LINES;
  hspi1.Init.DataSize = SPI_DATASIZE_8BIT;
  hspi1.Init.CLKPolarity = SPI_POLARITY_LOW;
  hspi1.Init.CLKPhase = SPI_PHASE_1EDGE;
  hspi1.Init.NSS = SPI_NSS_HARD_OUTPUT;
  hspi1.Init.BaudRatePrescaler = SPI_BAUDRATEPRESCALER_128;
  hspi1.Init.FirstBit = SPI_FIRSTBIT_MSB;
  hspi1.Init.TIMode = SPI_TIMODE_DISABLE;
  hspi1.Init.CRCCalculation = SPI_CRCCALCULATION_DISABLE;
  hspi1.Init.CRCPolynomial = 10;
  if (HAL_SPI_Init(&hspi1) != HAL_OK)
  {
    Error_Handler();
  }

}

static void MX_TIM1_Init(void)
{

  TIM_ClockConfigTypeDef sClockSourceConfig = {0};
  TIM_MasterConfigTypeDef sMasterConfig = {0};
  TIM_OC_InitTypeDef sConfigOC = {0};
  TIM_BreakDeadTimeConfigTypeDef sBreakDeadTimeConfig = {0};

  htim1.Instance = TIM1;
  htim1.Init.Prescaler = 0;
  htim1.Init.CounterMode = TIM_COUNTERMODE_UP;
  htim1.Init.Period = 65535;
  htim1.Init.ClockDivision = TIM_CLOCKDIVISION_DIV1;
  htim1.Init.RepetitionCounter = 0;
  htim1.Init.AutoReloadPreload = TIM_AUTORELOAD_PRELOAD_DISABLE;
  if (HAL_TIM_Base_Init(&htim1) != HAL_OK)
  {
    Error_Handler();
  }
  sClockSourceConfig.ClockSource = TIM_CLOCKSOURCE_INTERNAL;
  if (HAL_TIM_ConfigClockSource(&htim1, &sClockSourceConfig) != HAL_OK)
  {
    Error_Handler();
  }
  if (HAL_TIM_PWM_Init(&htim1) != HAL_OK)
  {
    Error_Handler();
  }
  sMasterConfig.MasterOutputTrigger = TIM_TRGO_RESET;
  sMasterConfig.MasterSlaveMode = TIM_MASTERSLAVEMODE_DISABLE;
  if (HAL_TIMEx_MasterConfigSynchronization(&htim1, &sMasterConfig) != HAL_OK)
  {
    Error_Handler();
  }
  sConfigOC.OCMode = TIM_OCMODE_PWM1;
  sConfigOC.Pulse = 0;
  sConfigOC.OCPolarity = TIM_OCPOLARITY_HIGH;
  sConfigOC.OCNPolarity = TIM_OCNPOLARITY_HIGH;
  sConfigOC.OCFastMode = TIM_OCFAST_DISABLE;
  sConfigOC.OCIdleState = TIM_OCIDLESTATE_RESET;
  sConfigOC.OCNIdleState = TIM_OCNIDLESTATE_RESET;
  if (HAL_TIM_PWM_ConfigChannel(&htim1, &sConfigOC, TIM_CHANNEL_1) != HAL_OK)
  {
    Error_Handler();
  }
  sBreakDeadTimeConfig.OffStateRunMode = TIM_OSSR_DISABLE;
  sBreakDeadTimeConfig.OffStateIDLEMode = TIM_OSSI_DISABLE;
  sBreakDeadTimeConfig.LockLevel = TIM_LOCKLEVEL_OFF;
  sBreakDeadTimeConfig.DeadTime = 0;
  sBreakDeadTimeConfig.BreakState = TIM_BREAK_DISABLE;
  sBreakDeadTimeConfig.BreakPolarity = TIM_BREAKPOLARITY_HIGH;
  sBreakDeadTimeConfig.AutomaticOutput = TIM_AUTOMATICOUTPUT_DISABLE;
  if (HAL_TIMEx_ConfigBreakDeadTime(&htim1, &sBreakDeadTimeConfig) != HAL_OK)
  {
    Error_Handler();
  }
  HAL_TIM_MspPostInit(&htim1);

}

static void MX_USART1_UART_Init(void)
{

  huart1.Instance = USART1;
  huart1.Init.BaudRate = 9600;
  huart1.Init.WordLength = UART_WORDLENGTH_8B;
  huart1.Init.StopBits = UART_STOPBITS_1;
  huart1.Init.Parity = UART_PARITY_NONE;
  huart1.Init.Mode = UART_MODE_TX_RX;
  huart1.Init.HwFlowCtl = UART_HWCONTROL_NONE;
  huart1.Init.OverSampling = UART_OVERSAMPLING_16;
  if (HAL_UART_Init(&huart1) != HAL_OK)
  {
    Error_Handler();
  }

}

static void MX_DMA_Init(void)
{

  /* DMA controller clock enable */
  __HAL_RCC_DMA1_CLK_ENABLE();

  /* DMA interrupt init */
  /* DMA1_Channel4_IRQn interrupt configuration */
  HAL_NVIC_SetPriority(DMA1_Channel4_IRQn, 0, 0);
  HAL_NVIC_EnableIRQ(DMA1_Channel4_IRQn);
  /* DMA1_Channel5_IRQn interrupt configuration */
  HAL_NVIC_SetPriority(DMA1_Channel5_IRQn, 0, 0);
  HAL_NVIC_EnableIRQ(DMA1_Channel5_IRQn);

}

static void MX_GPIO_Init(void)
{
  GPIO_InitTypeDef GPIO_InitStruct = {0};

  /* GPIO Ports Clock Enable */
  __HAL_RCC_GPIOC_CLK_ENABLE();
  __HAL_RCC_GPIOD_CLK_ENABLE();
  __HAL_RCC_GPIOA_CLK_ENABLE();
  __HAL_RCC_GPIOB_CLK_ENABLE();

  /*Configure GPIO pin Output Level */
  HAL_GPIO_WritePin(GPIOC, LCD_DB14_Pin|LCD_DB15_Pin, GPIO_PIN_RESET);

  /*Configure GPIO pin Output Level */
  HAL_GPIO_WritePin(GPIOA, LCD_DB00_Pin|LCD_DB01_Pin|LCD_DB02_Pin|LCD_DB03_Pin
                          |LCD_DB04_Pin|LCD_DB05_Pin|LCD_DB06_Pin|LCD_DB07_Pin, GPIO_PIN_RESET);

  /*Configure GPIO pin Output Level */
  HAL_GPIO_WritePin(GPIOB, LCD_DB08_Pin|LCD_DB09_Pin|LCD_DB10_Pin|LCD_DB11_Pin
                          |LCD_DB12_Pin|LCD_DB13_Pin|LCD_CS_Pin|LCD_RD_Pin
                          |LCD_WR_Pin|LCD_RS_Pin, GPIO_PIN_RESET);

  /*Configure GPIO pin : XPT2046_IRQ_Pin */
  GPIO_InitStruct.Pin = XPT2046_IRQ_Pin;
  GPIO_InitStruct.Mode = GPIO_MODE_INPUT;
  GPIO_InitStruct.Pull = GPIO_PULLUP;
  HAL_GPIO_Init(XPT2046_IRQ_GPIO_Port, &GPIO_InitStruct);

  /*Configure GPIO pins : LCD_DB14_Pin LCD_DB15_Pin */
  GPIO_InitStruct.Pin = LCD_DB14_Pin|LCD_DB15_Pin;
  GPIO_InitStruct.Mode = GPIO_MODE_OUTPUT_PP;
  GPIO_InitStruct.Pull = GPIO_NOPULL;
  GPIO_InitStruct.Speed = GPIO_SPEED_FREQ_LOW;
  HAL_GPIO_Init(GPIOC, &GPIO_InitStruct);

  /*Configure GPIO pins : LCD_DB00_Pin LCD_DB01_Pin LCD_DB02_Pin LCD_DB03_Pin
                           LCD_DB04_Pin LCD_DB05_Pin LCD_DB06_Pin LCD_DB07_Pin */
  GPIO_InitStruct.Pin = LCD_DB00_Pin|LCD_DB01_Pin|LCD_DB02_Pin|LCD_DB03_Pin
                          |LCD_DB04_Pin|LCD_DB05_Pin|LCD_DB06_Pin|LCD_DB07_Pin;
  GPIO_InitStruct.Mode = GPIO_MODE_OUTPUT_PP;
  GPIO_InitStruct.Pull = GPIO_NOPULL;
  GPIO_InitStruct.Speed = GPIO_SPEED_FREQ_LOW;
  HAL_GPIO_Init(GPIOA, &GPIO_InitStruct);

  /*Configure GPIO pins : LCD_DB08_Pin LCD_DB09_Pin LCD_DB10_Pin LCD_DB11_Pin
                           LCD_DB12_Pin LCD_DB13_Pin LCD_CS_Pin LCD_RD_Pin
                           LCD_WR_Pin LCD_RS_Pin */
  GPIO_InitStruct.Pin = LCD_DB08_Pin|LCD_DB09_Pin|LCD_DB10_Pin|LCD_DB11_Pin
                          |LCD_DB12_Pin|LCD_DB13_Pin|LCD_CS_Pin|LCD_RD_Pin
                          |LCD_WR_Pin|LCD_RS_Pin;
  GPIO_InitStruct.Mode = GPIO_MODE_OUTPUT_PP;
  GPIO_InitStruct.Pull = GPIO_NOPULL;
  GPIO_InitStruct.Speed = GPIO_SPEED_FREQ_LOW;
  HAL_GPIO_Init(GPIOB, &GPIO_InitStruct);

}

void Error_Handler(void)
{
}
